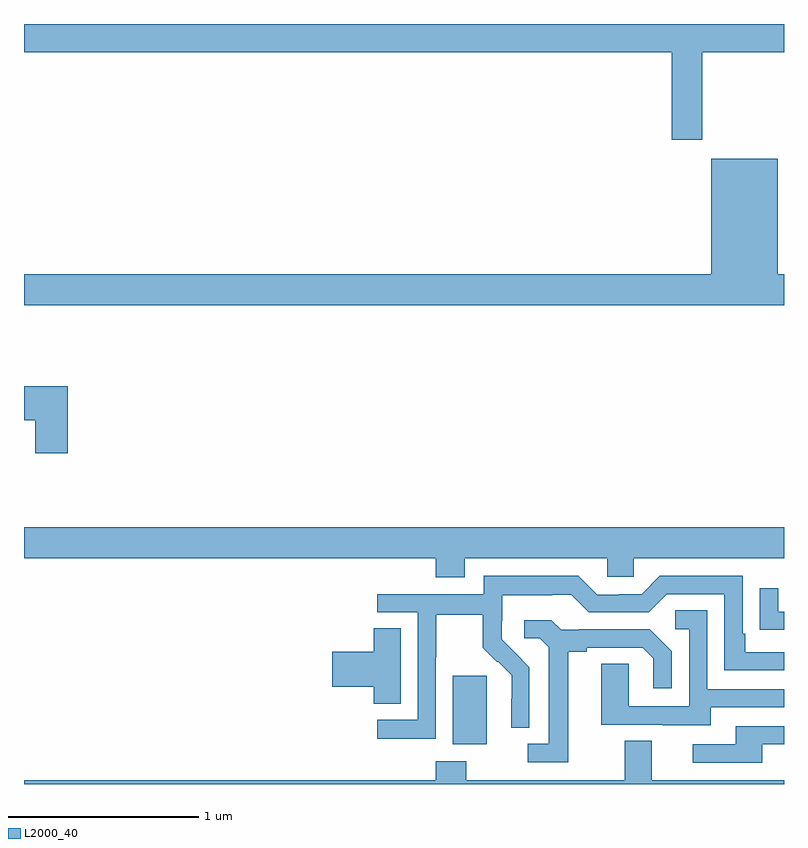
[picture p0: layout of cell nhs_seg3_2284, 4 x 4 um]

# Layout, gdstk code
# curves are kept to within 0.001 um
import gdstk
lib = gdstk.Library(unit=1e-6, precision=1e-09)
def R(c, l, rs):  # rectangles x0, y0, x1, y1
    for r in rs: c.add(gdstk.rectangle(r[:2], r[2:], *l))
def P(c, l, *ps):  # polygons
    for p in ps: c.add(gdstk.Polygon(p, *l))
L2000_40 = (2000, 40)

nhs_seg3_2284 = lib.new_cell('nhs_seg3_2284')
R(nhs_seg3_2284, L2000_40, [(231.257,694.61,231.436,694.971)])
P(nhs_seg3_2284, L2000_40, [(232.569,698.252),(233,698.252),(233,698.4),(229,698.4),(229,698.252),(232.409,698.252),(232.409,697.791),(232.569,697.791)],
  [(233,697.084),(232.966,697.084),(232.966,697.69),(232.616,697.69),(232.616,697.084),(229,697.084),(229,696.92),(233,696.92)],
  [(229.229,696.493),(229,696.493),(229,696.314),(229.058,696.314),(229.058,696.141),(229.229,696.141)],
  [(231.319,695.588),(232.071,695.588),(232.071,695.49),(232.209,695.49),(232.209,695.588),(233,695.588),(233,695.752),(229,695.752),(229,695.588),(231.167,695.588),(231.167,695.489),(231.319,695.489)],
  [(231.168,695.068),(231.171,695.068),(231.171,695.292),(231.415,695.292),(231.415,695.117),(231.492,695.04),(231.495,695.043),(231.566,694.973),(231.566,694.85),(231.564,694.85),(231.564,694.696),(231.66,694.696),(231.66,695.014),(231.514,695.162),(231.514,695.259),(231.516,695.259),(231.516,695.393),(231.779,695.393),(231.779,695.397),(231.879,695.397),(231.972,695.304),(232.287,695.304),(232.383,695.4),(232.686,695.4),(232.686,694.998),(233,694.998),(233,695.094),(232.795,695.094),(232.795,695.191),(232.782,695.191),(232.782,695.496),(232.347,695.496),(232.251,695.4),(232.133,695.4),(232.133,695.397),(232.017,695.397),(231.917,695.497),(231.42,695.497),(231.42,695.4),(230.859,695.4),(230.859,695.304),(231.072,695.304),(231.072,694.737),(230.859,694.737),(230.859,694.639),(231.168,694.639)],
  [(233,695.307),(232.969,695.307),(232.969,695.431),(232.873,695.431),(232.873,695.212),(232.975,695.212),(232.975,695.211),(233,695.211)],
  [(232.615,694.803),(233,694.803),(233,694.899),(232.596,694.899),(232.596,695.315),(232.428,695.315),(232.428,695.214),(232.5,695.214),(232.5,694.809),(232.182,694.809),(232.182,695.033),(232.037,695.033),(232.037,694.713),(232.361,694.713),(232.361,694.709),(232.615,694.709)],
  [(231.865,695.096),(231.961,695.096),(231.961,695.118),(232.256,695.118),(232.313,695.061),(232.313,694.905),(232.41,694.905),(232.41,695.098),(232.294,695.214),(231.922,695.214),(231.922,695.211),(231.828,695.211),(231.776,695.263),(231.633,695.263),(231.633,695.166),(231.714,695.166),(231.761,695.119),(231.761,694.611),(231.651,694.611),(231.651,694.515),(231.865,694.515)],
  [(230.983,695.219),(230.84,695.219),(230.84,695.096),(230.622,695.096),(230.622,694.913),(230.84,694.913),(230.84,694.822),(230.983,694.822)],
  [(232.885,694.608),(233,694.608),(233,694.704),(232.745,694.704),(232.745,694.608),(232.521,694.608),(232.521,694.512),(232.885,694.512)],
  [(233,694.42),(232.303,694.42),(232.303,694.628),(232.163,694.628),(232.163,694.42),(231.327,694.42),(231.327,694.519),(231.167,694.519),(231.167,694.42),(229,694.42),(229,694.4),(233,694.4)])

lib.write_gds('nhs_seg3_2284.gds')
